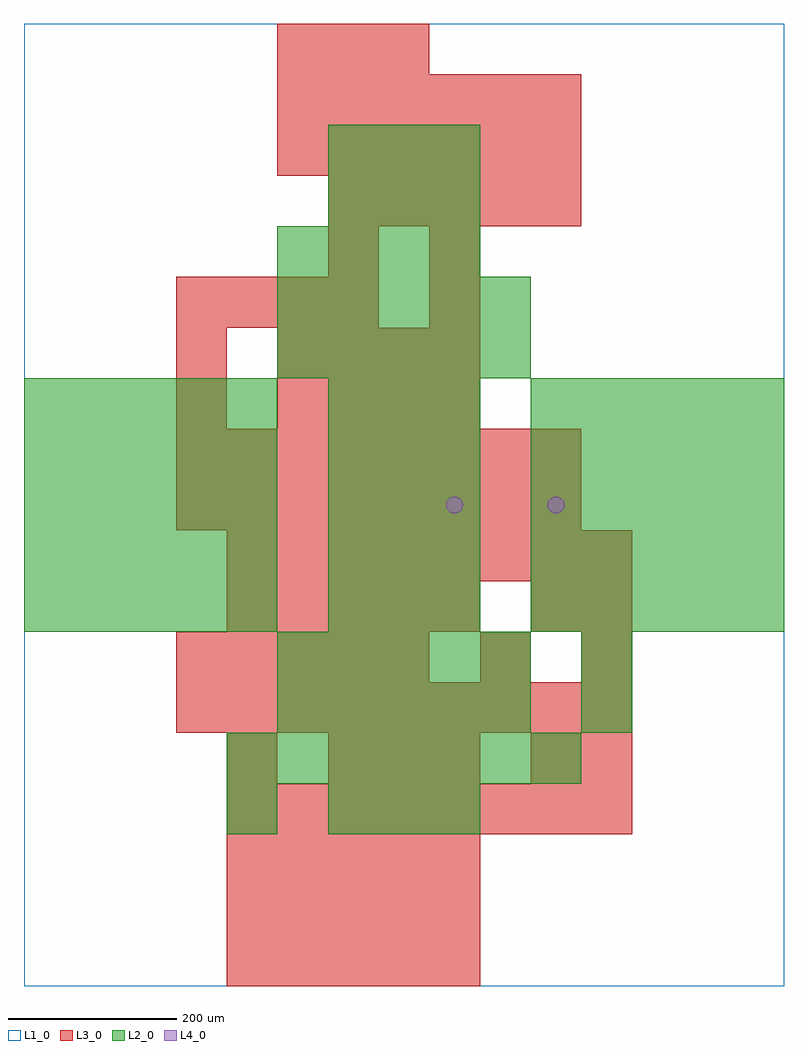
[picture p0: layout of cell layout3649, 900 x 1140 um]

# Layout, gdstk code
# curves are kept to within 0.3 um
import gdstk
lib = gdstk.Library(unit=1e-6, precision=1e-09)
def R(c, l, rs):  # rectangles x0, y0, x1, y1
    for r in rs: c.add(gdstk.rectangle(r[:2], r[2:], *l))
def A(c, l, x, y, w, h, nx, ny, dx, dy):  # array of equal rectangles
    R(c, l, [(x+i*dx, y+j*dy, x+i*dx+w, y+j*dy+h) for i in range(nx) for j in range(ny)])
def P(c, l, *ps):  # polygons
    for p in ps: c.add(gdstk.Polygon(p, *l))
L1_0 = (1, 0)
L2_0 = (2, 0)
L3_0 = (3, 0)
L4_0 = (4, 0)

layout3649 = lib.new_cell('layout3649')
R(layout3649, L1_0, [(0,0,900,1140)])
A(layout3649, L2_0, 360, 180, 60, 60, 3, 2, 60, 240)
A(layout3649, L2_0, 240, 240, 60, 60, 7, 1, 60, 0)
A(layout3649, L2_0, 300, 300, 60, 60, 5, 2, 60, 60)
A(layout3649, L2_0, 0, 420, 60, 60, 5, 5, 60, 60)
A(layout3649, L2_0, 600, 420, 60, 60, 5, 5, 60, 60)
A(layout3649, L2_0, 360, 480, 60, 60, 3, 4, 60, 60)
A(layout3649, L2_0, 300, 720, 60, 60, 5, 2, 60, 60)
A(layout3649, L2_0, 300, 840, 60, 60, 4, 1, 60, 0)
A(layout3649, L2_0, 360, 900, 60, 60, 3, 2, 60, 60)
R(layout3649, L2_0, [(240,180,300,240), (660,300,720,360), (660,360,720,420)])
A(layout3649, L3_0, 240, 0, 60, 60, 5, 3, 60, 60)
A(layout3649, L3_0, 240, 180, 60, 60, 8, 2, 60, 300)
A(layout3649, L3_0, 360, 240, 60, 60, 3, 1, 60, 0)
A(layout3649, L3_0, 180, 300, 60, 60, 9, 1, 60, 0)
A(layout3649, L3_0, 180, 360, 60, 60, 5, 1, 60, 0)
A(layout3649, L3_0, 240, 420, 60, 60, 5, 1, 60, 0)
A(layout3649, L3_0, 180, 540, 60, 60, 8, 2, 60, 60)
A(layout3649, L3_0, 300, 660, 60, 60, 4, 2, 60, 60)
A(layout3649, L3_0, 180, 780, 60, 60, 4, 1, 60, 0)
A(layout3649, L3_0, 360, 900, 60, 60, 5, 1, 60, 0)
A(layout3649, L3_0, 300, 960, 60, 60, 6, 2, 60, 60)
A(layout3649, L3_0, 300, 1080, 60, 60, 3, 1, 60, 0)
R(layout3649, L3_0, [(240,240,300,300), (600,240,660,300), (660,240,720,300), (540,360,600,420), (660,360,720,420), (600,420,660,480), (660,420,720,480), (180,660,240,720), (180,720,240,780), (480,780,540,840), (360,840,420,900), (480,840,540,900)])
P(layout3649, L4_0, [(520,570),(519.239,573.827),(517.071,577.071),(513.827,579.239),(510,580),(506.173,579.239),(502.929,577.071),(500.761,573.827),(500,570),(500.761,566.173),(502.929,562.929),(506.173,560.761),(510,560),(513.827,560.761),(517.071,562.929),(519.239,566.173)],
  [(640,570),(639.239,573.827),(637.071,577.071),(633.827,579.239),(630,580),(626.173,579.239),(622.929,577.071),(620.761,573.827),(620,570),(620.761,566.173),(622.929,562.929),(626.173,560.761),(630,560),(633.827,560.761),(637.071,562.929),(639.239,566.173)])

lib.write_gds('layout3649.gds')
